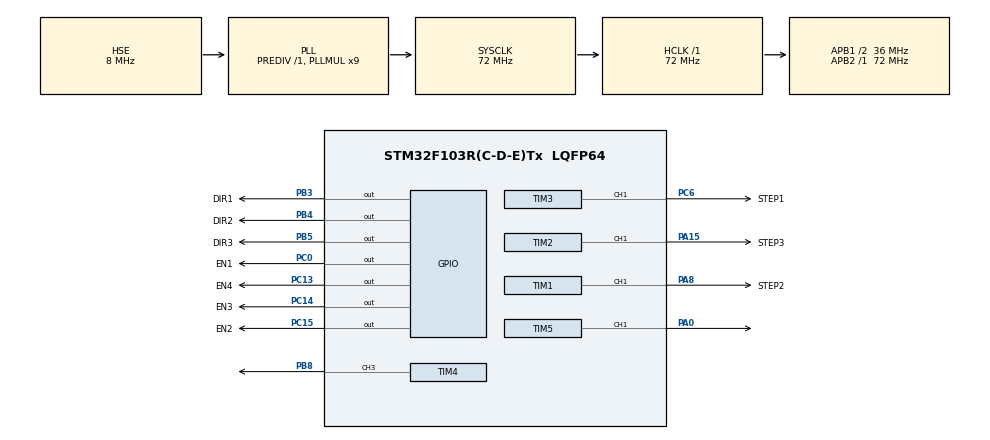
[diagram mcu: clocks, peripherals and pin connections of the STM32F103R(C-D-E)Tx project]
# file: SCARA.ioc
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Mcu.Family=STM32F1
TIM2.Channel-Output\ Compare1\ CH1=TIM_CHANNEL_1
VP_TIM5_VS_ClockSourceINT.Mode=Internal
PC0.GPIO_Label=EN1
PC6.GPIO_Label=STEP1
NVIC.TIM1_UP_IRQn=true\:0\:0\:false\:false\:true\:true\:true
TIM3.Pulse-Output\ Compare1\ CH1=700
PC15-OSC32_OUT.GPIO_Label=EN2
RCC.SYSCLKSource=RCC_SYSCLKSOURCE_PLLCLK
ProjectManager.StackSize=0x400
PD1-OSC_OUT.Signal=RCC_OSC_OUT
PA15.GPIO_Label=STEP3
TIM1.Prescaler=15
RCC.HCLKFreq_Value=72000000
RCC.APB2TimFreq_Value=72000000
RCC.AHBFreq_Value=72000000
TIM4.Pulse-Output\ Compare3\ CH3=700
RCC.PLLMUL=RCC_PLL_MUL9
PA14.Mode=Serial_Wire
TIM3.Prescaler=15
NVIC.TIM2_IRQn=true\:0\:0\:false\:false\:true\:true\:true
PA8.Signal=S_TIM1_CH1
SH.S_TIM3_CH1.0=TIM3_CH1,Output Compare1 CH1
VP_TIM1_VS_ClockSourceINT.Mode=Internal
Mcu.Package=LQFP64
TIM2.Prescaler=15
TIM2.OCMode_1=TIM_OCMODE_TOGGLE
PA15.Signal=S_TIM2_CH1_ETR
PB5.GPIO_Label=DIR3
RCC.APB1TimFreq_Value=72000000
SH.S_TIM5_CH1.0=TIM5_CH1,PWM Generation1 CH1
PC14-OSC32_IN.GPIO_Label=EN3
VP_TIM3_VS_ClockSourceINT.Mode=Internal
PB4.Signal=GPIO_Output
PB3.GPIO_Label=DIR1
RCC.PLLSourceVirtual=RCC_PLLSOURCE_HSE
PD1-OSC_OUT.Mode=HSE-External-Oscillator
PC6.Signal=S_TIM3_CH1
TIM1.OCMode_1=TIM_OCMODE_TOGGLE
PC13-TAMPER-RTC.Signal=GPIO_Output
PD0-OSC_IN.Signal=RCC_OSC_IN
PC0.Signal=GPIO_Output
RCC.APB1CLKDivider=RCC_HCLK_DIV2
PC14-OSC32_IN.Signal=GPIO_Output
TIM5.AutoReloadPreload=TIM_AUTORELOAD_PRELOAD_ENABLE
PA0-WKUP.Signal=S_TIM5_CH1
PA13.Signal=SYS_JTMS-SWDIO
TIM4.Channel-Output\ Compare3\ CH3=TIM_CHANNEL_3
PA8.GPIO_Label=STEP2
SH.S_TIM1_CH1.0=TIM1_CH1,Output Compare1 CH1
ProjectManager.TargetToolchain=MDK-ARM V5.27
SH.S_TIM4_CH3.0=TIM4_CH3,Output Compare3 CH3
TIM4.OCMode_3=TIM_OCMODE_TOGGLE
RCC.USBFreq_Value=72000000
TIM4.Prescaler=15
PC15-OSC32_OUT.Signal=GPIO_Output
TIM3.Channel-Output\ Compare1\ CH1=TIM_CHANNEL_1
PD0-OSC_IN.Mode=HSE-External-Oscillator
NVIC.TIM1_TRG_COM_IRQn=true\:0\:0\:false\:false\:true\:true\:true
board=custom
PC13-TAMPER-RTC.GPIO_Label=EN4
NVIC.TIM3_IRQn=true\:0\:0\:false\:false\:true\:true\:true
RCC.APB2Freq_Value=72000000
PB4.GPIO_Label=DIR2
TIM3.OCMode_1=TIM_OCMODE_TOGGLE
VP_TIM2_VS_ClockSourceINT.Mode=Internal
TIM2.Pulse-Output\ Compare1\ CH1=700
PA13.Mode=Serial_Wire
Mcu.Name=STM32F103R(C-D-E)Tx
NVIC.TIM1_CC_IRQn=true\:0\:0\:false\:false\:true\:true\:true
PB3.Signal=GPIO_Output
RCC.SYSCLKFreq_VALUE=72000000
PB5.Signal=GPIO_Output
TIM5.Prescaler=7199
SH.S_TIM2_CH1_ETR.0=TIM2_CH1,Output Compare1 CH1
TIM5.Channel-PWM\ Generation1\ CH1=TIM_CHANNEL_1
PA14.Signal=SYS_JTCK-SWCLK
NVIC.TIM1_BRK_IRQn=true\:0\:0\:false\:false\:true\:true\:true
ProjectManager.HeapSize=0x200
TIM1.Channel-Output\ Compare1\ CH1=TIM_CHANNEL_1
TIM1.Pulse-Output\ Compare1\ CH1=700
VP_TIM4_VS_ClockSourceINT.Mode=Internal
NVIC.PriorityGroup=NVIC_PRIORITYGROUP_4
PB8.Signal=S_TIM4_CH3
TIM5.Period=200
NVIC.TIM4_IRQn=true\:0\:0\:false\:false\:true\:true\:true
RCC.APB1Freq_Value=36000000

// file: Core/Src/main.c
/* USER CODE BEGIN Header */
/**
  ******************************************************************************
  * @file           : main.c
  * @brief          : Main program body
  ******************************************************************************
  * @attention
  *
  * <h2><center>&copy; Copyright (c) 2020 STMicroelectronics.
  * All rights reserved.</center></h2>
  *
  * This software component is licensed by ST under BSD 3-Clause license,
  * the "License"; You may not use this file except in compliance with the
  * License. You may obtain a copy of the License at:
  *                        opensource.org/licenses/BSD-3-Clause
  *
  ******************************************************************************
  */
/* USER CODE END Header */
#include "main.h"
#include "tim.h"
#include "gpio.h"

/* USER CODE BEGIN Includes */
#include "motor.h"
#include "robot.h"
/* USER CODE END Includes */

/* USER CODE BEGIN PM */
int stop_flag1;//电机1停止标志位
int stop_flag2;//电机2停止标志位
int stop_flag3;//电机3停止标志位
/* USER CODE END PM */

/* USER CODE BEGIN PV */
float fre[ACCELERATED_SPEED_LENGTH1]; //数组存储加速过程中每一步的频率
unsigned short period[ACCELERATED_SPEED_LENGTH1]; //数组储存加速过程中每一步定时器的自动装载值

float fre2[ACCELERATED_SPEED_LENGTH2]; //数组存储加速过程中每一步的频率
unsigned short period2[ACCELERATED_SPEED_LENGTH2]; //数组储存加速过程中每一步定时器的自动装载值

float fre3[ACCELERATED_SPEED_LENGTH2]; //数组存储加速过程中每一步的频率
unsigned short period3[ACCELERATED_SPEED_LENGTH2]; //数组储存加速过程中每一步定时器的自动装载值
/* USER CODE END PV */

void SystemClock_Config(void);

/* USER CODE BEGIN 0 */
void steering_gear(TIM_HandleTypeDef htimx,int TIM_CHANNEL,int y);
void robot_arm(int x,int y);
void CalculateSModelLine(float fre_[], unsigned short period_[], float len, float fre_max, float fre_min, float flexible);
/* USER CODE END 0 */

int main(void)
{

  /* MCU Configuration--------------------------------------------------------*/

  /* Reset of all peripherals, Initializes the Flash interface and the Systick. */
  HAL_Init();

  /* Configure the system clock */
  SystemClock_Config();

  /* Initialize all configured peripherals */
  MX_GPIO_Init();
  MX_TIM1_Init();
  MX_TIM2_Init();
  MX_TIM3_Init();
  MX_TIM4_Init();
  MX_TIM5_Init();
  /* USER CODE BEGIN 2 */

	CalculateSModelLine(fre,period,ACCELERATED_SPEED_LENGTH1,FRE_MAX,FRE_MIN,4);
	CalculateSModelLine(fre2,period2,ACCELERATED_SPEED_LENGTH2,FRE_MAX,FRE_MIN,4);
	CalculateSModelLine(fre3,period2,ACCELERATED_SPEED_LENGTH2,FRE_MAX,FRE_MIN,4);
	HAL_GPIO_WritePin(GPIOC, EN4_Pin|EN3_Pin|EN2_Pin|EN1_Pin, GPIO_PIN_RESET);
	HAL_GPIO_WritePin(GPIOB,GPIO_PIN_3,GPIO_PIN_SET);
	HAL_GPIO_WritePin(GPIOB,GPIO_PIN_4,GPIO_PIN_SET);
	HAL_GPIO_WritePin(GPIOB,GPIO_PIN_5,GPIO_PIN_SET);

	//CalculateSModelLine(fre,period,ACCELERATED_SPEED_LENGTH,FRE_MAX,FRE_MIN,4);
  HAL_TIM_Base_Start(&htim1);//启动定时器
	HAL_TIM_Base_Start(&htim2);//启动定时器
	HAL_TIM_Base_Start(&htim3);//启动定时器
	HAL_TIM_Base_Start(&htim4);//启动定时器
	HAL_TIM_OC_Start_IT(&htim1, TIM_CHANNEL_1);//启动定时器8通道1比较输出中断
	HAL_TIM_OC_Start_IT(&htim2, TIM_CHANNEL_1);//启动定时器8通道2比较输出中断
	HAL_TIM_OC_Start_IT(&htim3, TIM_CHANNEL_1);//启动定时器8通道1比较输出中断
	HAL_TIM_OC_Start_IT(&htim4, TIM_CHANNEL_3);//启动定时器8通道2比较输出中断

	HAL_Delay(30);
		CalculateSModelLine(fre,period,ACCELERATED_SPEED_LENGTH1,FRE_MAX,FRE_MIN,4);
	CalculateSModelLine(fre2,period2,ACCELERATED_SPEED_LENGTH2,FRE_MAX,FRE_MIN,4);
	CalculateSModelLine(fre3,period2,ACCELERATED_SPEED_LENGTH2,FRE_MAX,FRE_MIN,4);
	  HAL_TIM_Base_Start(&htim1);//启动定时器
	HAL_TIM_Base_Start(&htim2);//启动定时器
	HAL_TIM_Base_Start(&htim3);//启动定时器
	HAL_TIM_Base_Start(&htim4);//启动定时器
	HAL_TIM_OC_Start_IT(&htim1, TIM_CHANNEL_1);//启动定时器8通道1比较输出中断
	HAL_TIM_OC_Start_IT(&htim2, TIM_CHANNEL_1);//启动定时器8通道2比较输出中断
	HAL_TIM_OC_Start_IT(&htim3, TIM_CHANNEL_1);//启动定时器8通道1比较输出中断
	HAL_TIM_OC_Start_IT(&htim4, TIM_CHANNEL_3);//启动定时器8通道2比较输出中断
	if(stop_flag1&stop_flag2& stop_flag3==1)
	{
//		steering_gear(htim5,TIM_CHANNEL_1,100);
	}
  /* USER CODE END 2 */

  /* Infinite loop */
  while (1)
  {

  }
}

void SystemClock_Config(void)
{
  RCC_OscInitTypeDef RCC_OscInitStruct = {0};
  RCC_ClkInitTypeDef RCC_ClkInitStruct = {0};

  /** Initializes the RCC Oscillators according to the specified parameters
  * in the RCC_OscInitTypeDef structure.
  */
  RCC_OscInitStruct.OscillatorType = RCC_OSCILLATORTYPE_HSE;
  RCC_OscInitStruct.HSEState = RCC_HSE_ON;
  RCC_OscInitStruct.HSEPredivValue = RCC_HSE_PREDIV_DIV1;
  RCC_OscInitStruct.HSIState = RCC_HSI_ON;
  RCC_OscInitStruct.PLL.PLLState = RCC_PLL_ON;
  RCC_OscInitStruct.PLL.PLLSource = RCC_PLLSOURCE_HSE;
  RCC_OscInitStruct.PLL.PLLMUL = RCC_PLL_MUL9;
  if (HAL_RCC_OscConfig(&RCC_OscInitStruct) != HAL_OK)
  {
    Error_Handler();
  }
  /** Initializes the CPU, AHB and APB buses clocks
  */
  RCC_ClkInitStruct.ClockType = RCC_CLOCKTYPE_HCLK|RCC_CLOCKTYPE_SYSCLK
                              |RCC_CLOCKTYPE_PCLK1|RCC_CLOCKTYPE_PCLK2;
  RCC_ClkInitStruct.SYSCLKSource = RCC_SYSCLKSOURCE_PLLCLK;
  RCC_ClkInitStruct.AHBCLKDivider = RCC_SYSCLK_DIV1;
  RCC_ClkInitStruct.APB1CLKDivider = RCC_HCLK_DIV2;
  RCC_ClkInitStruct.APB2CLKDivider = RCC_HCLK_DIV1;

  if (HAL_RCC_ClockConfig(&RCC_ClkInitStruct, FLASH_LATENCY_2) != HAL_OK)
  {
    Error_Handler();
  }
}

void Error_Handler(void)
{
}

/************************ (C) COPYRIGHT STMicroelectronics *****END OF FILE****/
